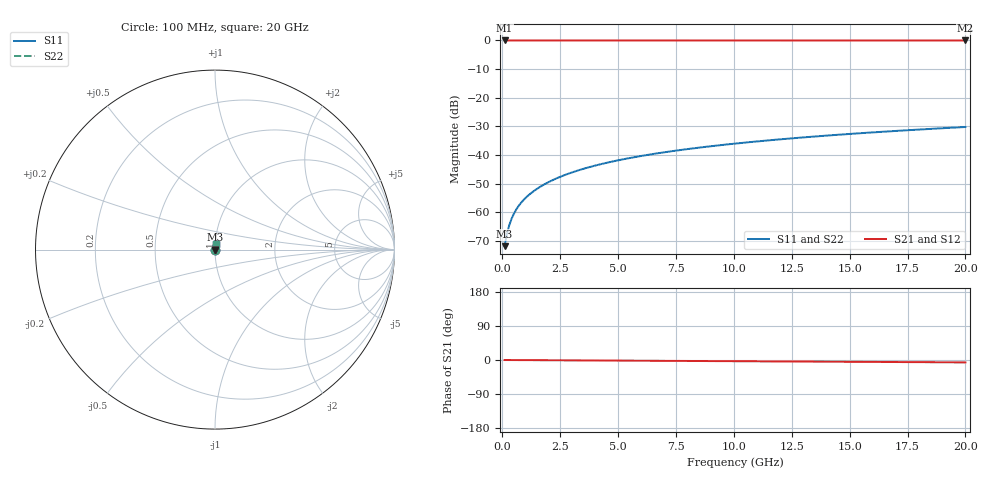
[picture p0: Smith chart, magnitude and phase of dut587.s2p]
! Touchstone file exported from HFSS 2026.1.0
!  File:  C:/ffzhzh/LocalFiles/Ansys_Project_Files/temp_train_TSV_587_1783025157_51716.aedt
!  Generated:  04:47:55 AM Jul  3, 2026
!  Design:  TSV
!  Project:  temp_train_TSV_587_1783025157_51716
! Variables:
!  h_bsmrdl = 2um
!  h_ox = 20um
!  h_rdl = 5um
!  h_sub = 57.27um
!  h_tmrdl = 5um
!  h_tsv = 57.27um
!  h_via = 3um
!  l_bsmrdl = 300um
!  l_sub = 413.94um
!  l_tmrdl = 200um
!  m_sub = 200um
!  pitch = 39.97um
!  r_tsv = 6.97um
!  s_tmrdl = 10um
!  w_bsmrdl = 18um
!  w_sub = 500um
!  w_tmrdl = 12um
!  x_tsv_center1 = 206um
!  x_tsv_center2 = 524um
!  x_tsv_center3 = 736um
!  x_tsv_center4 = 1054um
!  x_tsv_center5 = 1266um
!  x_tsv_center6 = 1584um
# GHz S MA R 50.000000
! Terminal data exported
! Port[1] = TSV1_1_T1
! Port[2] = TSV1_1_T2
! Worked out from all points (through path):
!   200 points, 100 MHz to 20 GHz, reference 50 ohm
!   highest |S21| = 0.00 dB at 100 MHz (marker M1); lowest = 0.0 dB at 20 GHz (marker M2)
!   lowest |S11| = -71.8 dB at 100 MHz (marker M3), VSWR 1.00, Z = 50 + j0.019 ohm
!   |S11| at or under -10 dB: start of sweep to end of sweep
!   |S22| runs from -71.8 to -30.2 dB; largest |S21 - S12| = 5.2e-15
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0.1  0.0002558 47.8  0.9998 -0.0  0.9998 -0.0  0.0002558 47.8
! Gamma 0 0 0 0
! Port Impedance 50 0 50 0
0.2  0.0004183 64.3  0.9998 -0.1  0.9998 -0.1  0.0004183 64.3
0.3  0.0005937 70.7  0.9998 -0.1  0.9998 -0.1  0.0005937 70.7
0.4  0.0007697 73.9  0.9998 -0.1  0.9998 -0.1  0.0007697 73.9
0.5  0.0009431 75.7  0.9998 -0.2  0.9998 -0.2  0.0009431 75.7
0.6  0.001113 76.9  0.9998 -0.2  0.9998 -0.2  0.001113 76.9
0.7  0.001281 77.8  0.9997 -0.2  0.9997 -0.2  0.001281 77.8
0.8  0.001445 78.5  0.9997 -0.3  0.9997 -0.3  0.001445 78.5
1  0.00177 79.6  0.9997 -0.3  0.9997 -0.3  0.00177 79.6
1.4  0.00241 81.1  0.9996 -0.5  0.9996 -0.5  0.00241 81.1
1.7  0.002888 81.8  0.9996 -0.6  0.9996 -0.6  0.002888 81.8
2  0.003364 82.4  0.9996 -0.6  0.9996 -0.6  0.003364 82.4
2.7  0.004474 83.2  0.9995 -0.9  0.9995 -0.9  0.004474 83.2
3.5  0.005735 83.7  0.9995 -1.1  0.9995 -1.1  0.005735 83.7
4.2  0.006831 83.9  0.9994 -1.3  0.9994 -1.3  0.006831 83.9
5  0.008075 84.0  0.9993 -1.6  0.9993 -1.6  0.008075 84.0
6.8  0.01085 83.9  0.9992 -2.2  0.9992 -2.2  0.01085 83.9
8.3  0.01315 83.8  0.9991 -2.6  0.9991 -2.6  0.01315 83.8
10.1  0.01589 83.6  0.999 -3.2  0.999 -3.2  0.01589 83.6
13.4  0.0209 83.0  0.9988 -4.2  0.9988 -4.2  0.0209 83.0
16.7  0.02588 82.2  0.9985 -5.3  0.9985 -5.3  0.02588 82.2
20  0.03082 81.3  0.9983 -6.3  0.9983 -6.3  0.03082 81.3
